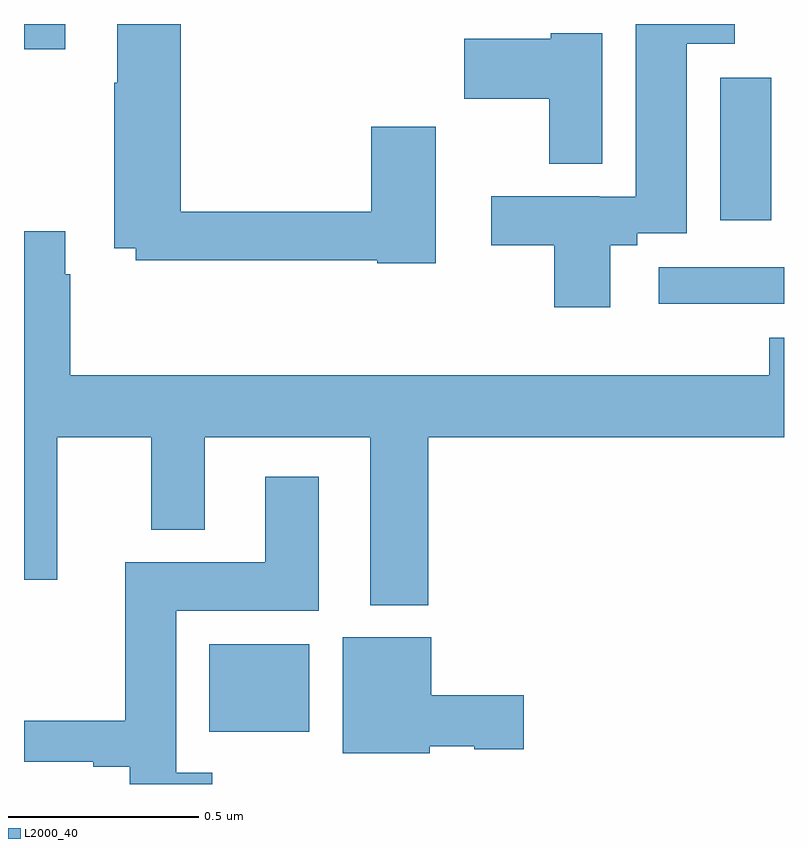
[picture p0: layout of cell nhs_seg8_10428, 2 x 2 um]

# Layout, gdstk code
import gdstk
lib = gdstk.Library(unit=1e-6, precision=1e-09)
def R(c, l, rs):  # rectangles x0, y0, x1, y1
    for r in rs: c.add(gdstk.rectangle(r[:2], r[2:], *l))
def P(c, l, *ps):  # polygons
    for p in ps: c.add(gdstk.Polygon(p, *l))
L2000_40 = (2000, 40)

nhs_seg8_10428 = lib.new_cell('nhs_seg8_10428')
R(nhs_seg8_10428, L2000_40, [(249.488,1137.038,249.751,1137.268), (250.671,1138.164,251,1138.26), (250.832,1138.383,250.966,1138.759), (249,1138.833,249.109,1138.9)])
P(nhs_seg8_10428, L2000_40, [(250.084,1138.63),(249.914,1138.63),(249.914,1138.406),(249.413,1138.406),(249.413,1138.9),(249.245,1138.9),(249.245,1138.745),(249.238,1138.745),(249.238,1138.31),(249.294,1138.31),(249.294,1138.278),(249.93,1138.278),(249.93,1138.27),(250.084,1138.27)],
  [(250.543,1138.318),(250.614,1138.318),(250.614,1138.35),(250.744,1138.35),(250.744,1138.848),(250.87,1138.848),(250.87,1138.9),(250.61,1138.9),(250.61,1138.446),(250.514,1138.446),(250.514,1138.447),(250.23,1138.447),(250.23,1138.318),(250.396,1138.318),(250.396,1138.155),(250.543,1138.155)],
  [(250.522,1138.876),(250.386,1138.876),(250.386,1138.861),(250.158,1138.861),(250.158,1138.703),(250.382,1138.703),(250.382,1138.532),(250.522,1138.532)],
  [(250.064,1137.812),(251,1137.812),(251,1138.075),(250.961,1138.075),(250.961,1137.976),(249.122,1137.976),(249.122,1138.241),(249.109,1138.241),(249.109,1138.354),(249,1138.354),(249,1137.438),(249.088,1137.438),(249.088,1137.812),(249.335,1137.812),(249.335,1137.569),(249.475,1137.569),(249.475,1137.812),(249.911,1137.812),(249.911,1137.371),(250.064,1137.371)],
  [(249.496,1136.929),(249.4,1136.929),(249.4,1137.356),(249.775,1137.356),(249.775,1137.709),(249.635,1137.709),(249.635,1137.484),(249.266,1137.484),(249.266,1137.067),(249,1137.067),(249,1136.958),(249.182,1136.958),(249.182,1136.946),(249.278,1136.946),(249.278,1136.9),(249.496,1136.9)],
  [(250.068,1136.999),(250.185,1136.999),(250.185,1136.992),(250.315,1136.992),(250.315,1137.134),(250.072,1137.134),(250.072,1137.286),(249.839,1137.286),(249.839,1136.981),(250.068,1136.981)])

lib.write_gds('nhs_seg8_10428.gds')
